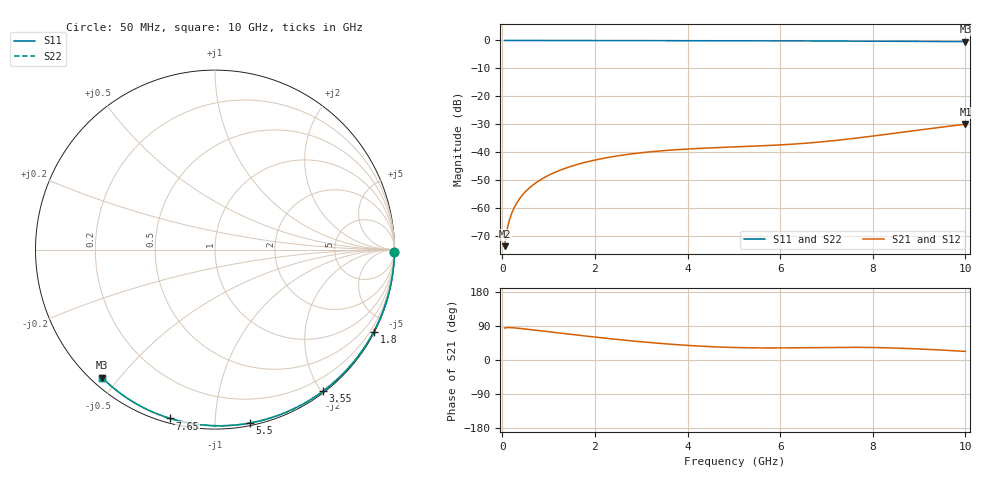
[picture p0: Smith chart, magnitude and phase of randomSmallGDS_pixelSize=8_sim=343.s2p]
! freq	dB(S11)	phase(S11)	dB(S12)	phase(S12)
!  dB(S21)	phase(S21)	dB(S22)	phase(S22)
!S-par simulation data
#  GHz  S  DB  R 50
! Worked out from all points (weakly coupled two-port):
!   200 points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, 50 MHz to 10 GHz, reference 50 ohm
!   highest |S21| = -30.00 dB at 10 GHz (marker M1); lowest = -73.7 dB at 50 MHz (marker M2)
!   lowest |S11| = -0.4 dB at 10 GHz (marker M3), VSWR 39.89, Z = 1.51 - j22.5 ohm
!   |S11| at or under -10 dB: nowhere
!   |S22| runs from -0.4 to 0.0 dB; largest |S21 - S12| = 0
!   S11 on the Smith chart (normalised r, x): 50 MHz: open; 1.8 GHz: 0.04, -4.12; 3.55 GHz: 0.02, -2.03; 5.5 GHz: 0.02, -1.22; 7.65 GHz: 0.02, -0.77; 10 GHz: 0.03, -0.45
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0.05  -0.00 -0.8  -73.67 84.4  -73.67 84.4  -0.00 -0.8
0.1  -0.00 -1.5  -67.95 85.4  -67.95 85.4  -0.00 -1.5
0.15  -0.00 -2.3  -64.51 85.6  -64.51 85.6  -0.00 -2.3
0.2  -0.00 -3.1  -62.04 85.3  -62.04 85.3  -0.00 -3.1
0.25  -0.00 -3.9  -60.12 84.9  -60.12 84.9  -0.00 -3.9
0.35  -0.00 -5.4  -57.22 83.7  -57.22 83.7  -0.00 -5.4
0.5  -0.01 -7.7  -54.15 81.8  -54.15 81.8  -0.01 -7.7
0.7  -0.01 -10.7  -51.28 78.9  -51.28 78.9  -0.01 -10.7
1  -0.02 -15.3  -48.28 74.6  -48.28 74.6  -0.02 -15.3
1.35  -0.03 -20.6  -45.83 69.6  -45.83 69.6  -0.03 -20.6
1.75  -0.03 -26.5  -43.81 63.9  -43.81 63.9  -0.03 -26.5
1.8  -0.03 -27.3  -43.60 63.2  -43.60 63.2  -0.03 -27.3
2.5  -0.05 -37.6  -41.30 54.0  -41.30 54.0  -0.05 -37.6
3.4  -0.07 -50.4  -39.57 43.9  -39.57 43.9  -0.07 -50.4
3.55  -0.07 -52.5  -39.37 42.4  -39.37 42.4  -0.07 -52.5
4.3  -0.09 -62.8  -38.61 36.4  -38.61 36.4  -0.09 -62.8
5.05  -0.11 -72.8  -38.10 32.9  -38.10 32.9  -0.11 -72.8
5.5  -0.13 -78.6  -37.81 31.9  -37.81 31.9  -0.13 -78.6
6.7  -0.18 -93.6  -36.60 32.7  -36.60 32.7  -0.18 -93.6
7.65  -0.23 -104.9  -34.96 33.4  -34.96 33.4  -0.23 -104.9
8.35  -0.28 -113.0  -33.49 32.0  -33.49 32.0  -0.28 -113.0
10  -0.44 -131.4  -30.00 22.7  -30.00 22.7  -0.44 -131.4
